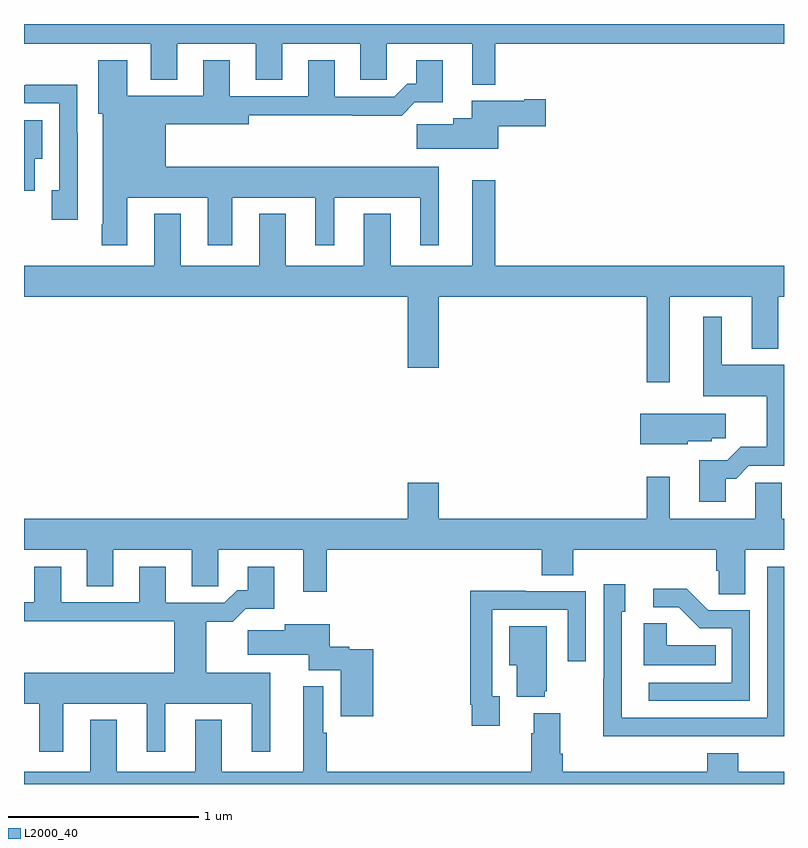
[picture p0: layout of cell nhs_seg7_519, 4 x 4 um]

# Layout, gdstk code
import gdstk
lib = gdstk.Library(unit=1e-6, precision=1e-09)
def P(c, l, *ps):  # polygons
    for p in ps: c.add(gdstk.Polygon(p, *l))
L2000_40 = (2000, 40)

nhs_seg7_519 = lib.new_cell('nhs_seg7_519')
P(nhs_seg7_519, L2000_40, [(153.481,1053.896),(155,1053.896),(155,1054),(151,1054),(151,1053.896),(151.667,1053.896),(151.667,1053.707),(151.807,1053.707),(151.807,1053.896),(152.219,1053.896),(152.219,1053.706),(152.359,1053.706),(152.359,1053.896),(152.771,1053.896),(152.771,1053.706),(152.91,1053.706),(152.91,1053.896),(153.359,1053.896),(153.359,1053.68),(153.481,1053.68)],
  [(151.543,1053.086),(151.967,1053.086),(151.967,1052.835),(152.095,1052.835),(152.095,1053.086),(152.534,1053.086),(152.534,1052.835),(152.632,1052.835),(152.632,1053.086),(153.086,1053.086),(153.086,1052.835),(153.184,1052.835),(153.184,1053.25),(151.747,1053.25),(151.747,1053.473),(152.182,1053.473),(152.182,1053.52),(152.731,1053.52),(152.731,1053.518),(152.987,1053.518),(153.056,1053.587),(153.205,1053.587),(153.205,1053.808),(153.065,1053.808),(153.065,1053.685),(153.016,1053.685),(152.949,1053.618),(152.635,1053.618),(152.635,1053.808),(152.495,1053.808),(152.495,1053.621),(152.083,1053.621),(152.083,1053.808),(151.943,1053.808),(151.943,1053.622),(151.543,1053.622),(151.543,1053.808),(151.391,1053.808),(151.391,1053.528),(151.415,1053.528),(151.415,1052.947),(151.408,1052.947),(151.408,1052.835),(151.543,1052.835)],
  [(151.282,1053.428),(151.281,1053.428),(151.281,1053.68),(151.009,1053.68),(151.009,1053.678),(151,1053.678),(151,1053.582),(151.185,1053.582),(151.185,1053.126),(151.145,1053.126),(151.145,1052.97),(151.282,1052.97)],
  [(153.496,1053.461),(153.745,1053.461),(153.745,1053.603),(153.632,1053.603),(153.632,1053.595),(153.356,1053.595),(153.356,1053.505),(153.26,1053.505),(153.26,1053.473),(153.066,1053.473),(153.066,1053.344),(153.496,1053.344)],
  [(151.057,1053.29),(151.096,1053.29),(151.096,1053.493),(151,1053.493),(151,1053.122),(151.057,1053.122)],
  [(154.399,1052.564),(154.829,1052.564),(154.829,1052.291),(154.969,1052.291),(154.969,1052.564),(155,1052.564),(155,1052.728),(153.481,1052.728),(153.481,1053.178),(153.359,1053.178),(153.359,1052.728),(152.929,1052.728),(152.929,1053.001),(152.789,1053.001),(152.789,1052.728),(152.377,1052.728),(152.377,1053.001),(152.237,1053.001),(152.237,1052.728),(151.825,1052.728),(151.825,1053.001),(151.685,1053.001),(151.685,1052.728),(151,1052.728),(151,1052.564),(153.02,1052.564),(153.02,1052.19),(153.184,1052.19),(153.184,1052.564),(154.278,1052.564),(154.278,1052.115),(154.399,1052.115)],
  [(154.693,1051.607),(154.748,1051.607),(154.815,1051.674),(155,1051.674),(155,1052.206),(154.672,1052.206),(154.672,1052.458),(154.574,1052.458),(154.574,1052.042),(154.91,1052.042),(154.91,1051.775),(154.772,1051.775),(154.701,1051.704),(154.553,1051.704),(154.553,1051.485),(154.693,1051.485)],
  [(154.494,1051.805),(154.62,1051.805),(154.62,1051.819),(154.693,1051.819),(154.693,1051.948),(154.244,1051.948),(154.244,1051.787),(154.494,1051.787)],
  [(154.795,1051.232),(155,1051.232),(155,1051.396),(154.987,1051.396),(154.987,1051.586),(154.848,1051.586),(154.848,1051.396),(154.399,1051.396),(154.399,1051.618),(154.278,1051.618),(154.278,1051.396),(153.184,1051.396),(153.184,1051.585),(153.02,1051.585),(153.02,1051.396),(151,1051.396),(151,1051.232),(151.331,1051.232),(151.331,1051.042),(151.471,1051.042),(151.471,1051.232),(151.883,1051.232),(151.883,1051.042),(152.022,1051.042),(152.022,1051.232),(152.471,1051.232),(152.471,1051.011),(152.593,1051.011),(152.593,1051.232),(153.725,1051.232),(153.725,1051.099),(153.89,1051.099),(153.89,1051.232),(154.643,1051.232),(154.643,1051.123),(154.656,1051.123),(154.656,1051),(154.795,1051)],
  [(151.207,1050.422),(151.646,1050.422),(151.646,1050.171),(151.744,1050.171),(151.744,1050.422),(152.198,1050.422),(152.198,1050.171),(152.296,1050.171),(152.296,1050.586),(151.96,1050.586),(151.96,1050.854),(152.099,1050.854),(152.168,1050.923),(152.317,1050.923),(152.317,1051.144),(152.177,1051.144),(152.177,1051.021),(152.122,1051.021),(152.055,1050.954),(151.747,1050.954),(151.747,1051.144),(151.607,1051.144),(151.607,1050.957),(151.195,1050.957),(151.195,1051.144),(151.055,1051.144),(151.055,1050.957),(151,1050.957),(151,1050.856),(151.79,1050.856),(151.79,1050.586),(151,1050.586),(151,1050.422),(151.079,1050.422),(151.079,1050.171),(151.207,1050.171)],
  [(154.511,1050.252),(155,1050.252),(155,1051.143),(154.911,1051.143),(154.911,1050.348),(154.146,1050.348),(154.146,1050.906),(154.165,1050.906),(154.165,1051.051),(154.05,1051.051),(154.05,1050.557),(154.048,1050.557),(154.048,1050.251),(154.511,1050.251)],
  [(154.821,1050.915),(154.602,1050.915),(154.489,1051.028),(154.311,1051.028),(154.311,1050.93),(154.445,1050.93),(154.556,1050.819),(154.725,1050.819),(154.725,1050.534),(154.287,1050.534),(154.287,1050.438),(154.821,1050.438)],
  [(153.505,1050.462),(153.465,1050.462),(153.465,1050.918),(153.861,1050.918),(153.861,1050.645),(153.957,1050.645),(153.957,1051.014),(153.641,1051.014),(153.641,1051.016),(153.349,1051.016),(153.349,1050.418),(153.357,1050.418),(153.357,1050.306),(153.505,1050.306)],
  [(154.64,1050.73),(154.383,1050.73),(154.383,1050.845),(154.262,1050.845),(154.262,1050.626),(154.64,1050.626)],
  [(152.837,1050.709),(152.712,1050.709),(152.712,1050.722),(152.608,1050.722),(152.608,1050.841),(152.372,1050.841),(152.372,1050.809),(152.178,1050.809),(152.178,1050.68),(152.498,1050.68),(152.498,1050.599),(152.666,1050.599),(152.666,1050.357),(152.837,1050.357)],
  [(153.74,1050.489),(153.751,1050.489),(153.751,1050.829),(153.554,1050.829),(153.554,1050.626),(153.593,1050.626),(153.593,1050.458),(153.74,1050.458)],
  [(155,1050.064),(154.76,1050.064),(154.76,1050.163),(154.595,1050.163),(154.595,1050.064),(153.836,1050.064),(153.836,1050.16),(153.823,1050.16),(153.823,1050.373),(153.683,1050.373),(153.683,1050.266),(153.671,1050.266),(153.671,1050.064),(152.593,1050.064),(152.593,1050.269),(152.575,1050.269),(152.575,1050.514),(152.471,1050.514),(152.471,1050.064),(152.041,1050.064),(152.041,1050.337),(151.901,1050.337),(151.901,1050.064),(151.489,1050.064),(151.489,1050.337),(151.349,1050.337),(151.349,1050.064),(151,1050.064),(151,1050),(155,1050)])

lib.write_gds('nhs_seg7_519.gds')
